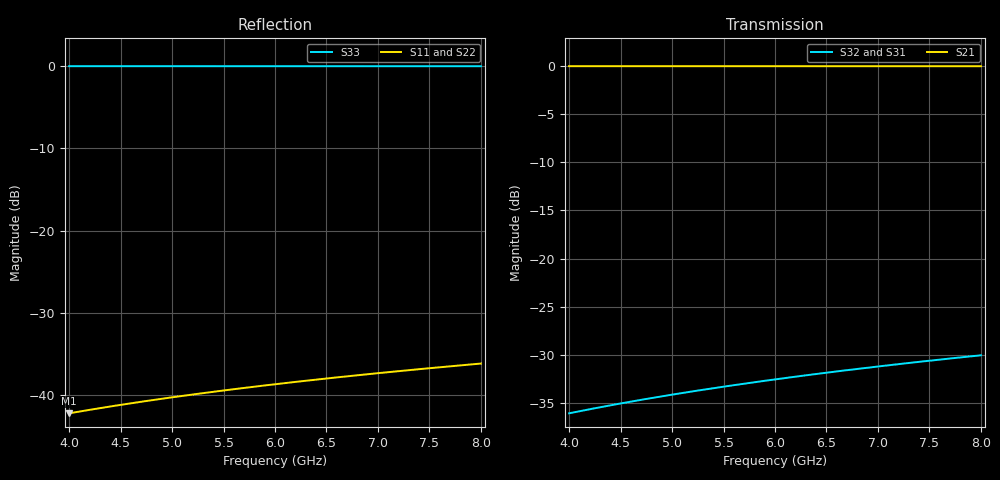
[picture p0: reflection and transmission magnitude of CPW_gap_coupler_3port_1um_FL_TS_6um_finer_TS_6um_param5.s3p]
! Sonnet Data File
! From: em Version : 15.52
! From Project: CPW_gap_coupler_3port_1um_FL_TS_6um_finer
! Data is De-embedded
! Data File Written: 08/14/2018 18:07:51
!< HDATE 08/14/2018 17:46:56
!< MDATE 08/14/2018 17:46:56
!< PARAMS
!< gap = 2.0
!< cpwS = 5.0
!< cpwS1 = 5.0
!< feedW = 12.0
!< feedS1 = 5.0
!< cond_length = 444.0
!< inner_length = 426.0
!< hangerW = 12.0000175
!< open_gap = 22.0
!< coupler_length = 450.0
!< END PARAMS
# GHZ S MA R 50.00000
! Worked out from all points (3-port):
!   201 points, 4 GHz to 8 GHz, reference 50 ohm
!   strongest paths, dB at 4 GHz, 5 GHz, 6 GHz, 7 GHz, 8 GHz:
!     S21: 0.0, 0.0, 0.0, 0.0, 0.0
!     S32: -36.1, -34.2, -32.6, -31.2, -30.1
!     S31: -36.1, -34.2, -32.6, -31.3, -30.1
!   lowest |S11| = -42.2 dB at 4 GHz (marker M1), VSWR 1.02, Z = 50.1 + j0.774 ohm
!   |S11| at or under -10 dB: start of sweep to end of sweep
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4  0.007766 84.1  0.9998 -9.2  0.01567 76.4
   0.9998 -9.2  0.00773 79.2  0.01569 82.3
   0.01567 76.4  0.01569 82.3  0.9998 -12.5
4.42  0.008583 83.5  0.9998 -10.2  0.01731 75.0
      0.9998 -10.2  0.008536 78.1  0.01733 81.5
      0.01731 75.0  0.01733 81.5  0.9997 -13.8
4.92  0.009557 82.7  0.9998 -11.4  0.01926 73.3
      0.9998 -11.4  0.009492 76.7  0.0193 80.5
      0.01926 73.3  0.0193 80.5  0.9996 -15.4
5.2  0.0101 82.3  0.9997 -12.0  0.02036 72.4
     0.9997 -12.0  0.01003 76.0  0.0204 80.0
     0.02036 72.4  0.0204 80.0  0.9996 -16.2
5.5  0.01069 81.9  0.9997 -12.7  0.02153 71.4
     0.9997 -12.7  0.0106 75.2  0.02157 79.4
     0.02153 71.4  0.02157 79.4  0.9995 -17.2
6  0.01166 81.1  0.9997 -13.8  0.02348 69.7
   0.9997 -13.8  0.01154 73.8  0.02354 78.4
   0.02348 69.7  0.02354 78.4  0.9994 -18.7
6.48  0.0126 80.4  0.9996 -15.0  0.02535 68.0
      0.9996 -15.0  0.01245 72.5  0.02542 77.5
      0.02535 68.0  0.02542 77.5  0.9994 -20.2
6.94  0.0135 79.7  0.9995 -16.0  0.02714 66.5
      0.9995 -16.0  0.01332 71.3  0.02723 76.6
      0.02714 66.5  0.02723 76.6  0.9993 -21.7
7.48  0.01456 78.9  0.9995 -17.3  0.02925 64.6
      0.9995 -17.3  0.01433 69.8  0.02936 75.5
      0.02925 64.6  0.02936 75.5  0.9991 -23.4
8  0.01558 78.1  0.9994 -18.5  0.03127 62.9
   0.9994 -18.5  0.0153 68.4  0.03141 74.5
   0.03127 62.9  0.03141 74.5  0.999 -25.0
